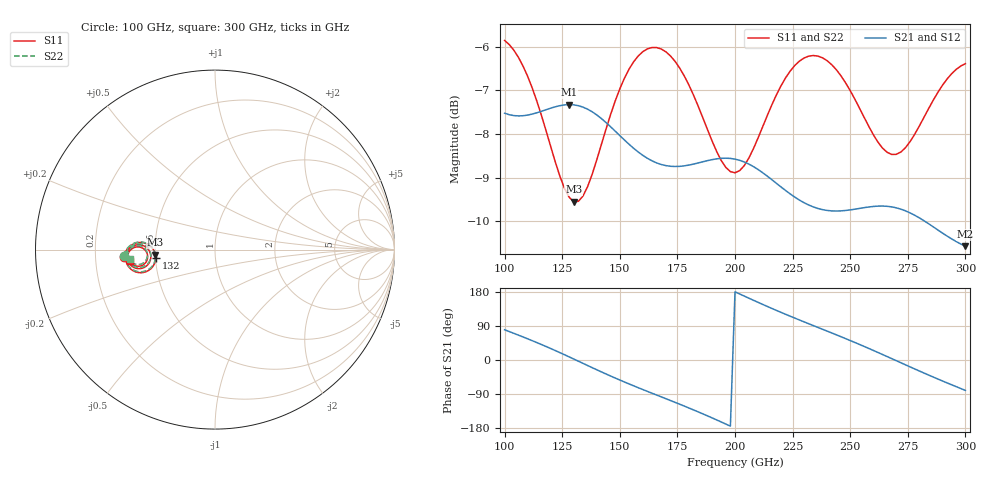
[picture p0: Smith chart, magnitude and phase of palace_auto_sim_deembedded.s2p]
! Created with skrf 1.11.0 (http://scikit-rf.org).
# GHz S DB R 50.0
!freq dBS11 angS11 dBS21 angS21 dBS12 angS12 dBS22 angS22
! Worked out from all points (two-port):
!   101 points, 100 GHz to 300 GHz, reference 50 ohm
!   highest |S21| = -7.33 dB at 128 GHz (marker M1); lowest = -10.6 dB at 300 GHz (marker M2)
!   |S21| within 3 dB of the highest: start of sweep to 291.7 GHz
!   lowest |S11| = -9.6 dB at 130 GHz (marker M3), VSWR 2.00, Z = 25.1 - j1.61 ohm
!   |S11| at or under -10 dB: nowhere
!   |S22| runs from -9.5 to -5.9 dB; largest |S21 - S12| = 5.7e-14
!   S11 on the Smith chart (normalised r, x): 100 GHz: 0.33, -0.03; 132 GHz: 0.50, -0.05; 300 GHz: 0.35, -0.06
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100  -5.86 -175.5  -7.52 79.8  -7.52 79.8  -5.85 -175.9
114  -7.25 174.9  -7.51 45.9  -7.51 45.9  -7.24 174.6
128  -9.45 -177.9  -7.33 8.3  -7.33 8.3  -9.42 -178.4
130  -9.55 -175.1  -7.33 2.6  -7.33 2.6  -9.52 -175.6
132  -9.54 -172.2  -7.35 -3.1  -7.35 -3.1  -9.52 -172.7
134  -9.43 -169.4  -7.39 -8.8  -7.39 -8.8  -9.40 -169.9
142  -8.24 -162.6  -7.65 -31.3  -7.65 -31.3  -8.22 -163.3
150  -6.97 -163.5  -8.04 -52.9  -8.04 -52.9  -6.96 -164.2
158  -6.21 -168.4  -8.41 -73.1  -8.41 -73.1  -6.21 -169.1
168  -6.05 -175.8  -8.70 -97.3  -8.70 -97.3  -6.06 -176.6
184  -7.36 176.4  -8.67 -136.8  -8.67 -136.8  -7.37 175.6
192  -8.40 178.5  -8.57 -158.0  -8.57 -158.0  -8.41 177.7
200  -8.89 -174.3  -8.58 179.9  -8.58 179.9  -8.91 -175.1
208  -8.34 -167.4  -8.75 157.7  -8.75 157.7  -8.35 -168.2
218  -7.10 -166.1  -9.13 130.8  -9.13 130.8  -7.11 -166.9
234  -6.20 -174.2  -9.67 90.8  -9.67 90.8  -6.20 -175.0
250  -7.01 178.3  -9.74 51.4  -9.74 51.4  -7.00 177.4
260  -8.01 179.3  -9.66 25.3  -9.66 25.3  -8.00 178.3
268  -8.47 -175.5  -9.67 3.7  -9.67 3.7  -8.45 -176.6
276  -8.18 -169.8  -9.81 -18.2  -9.81 -18.2  -8.16 -171.0
284  -7.42 -167.6  -10.06 -39.6  -10.06 -39.6  -7.42 -168.8
300  -6.39 -172.5  -10.57 -80.2  -10.57 -80.2  -6.40 -173.8
